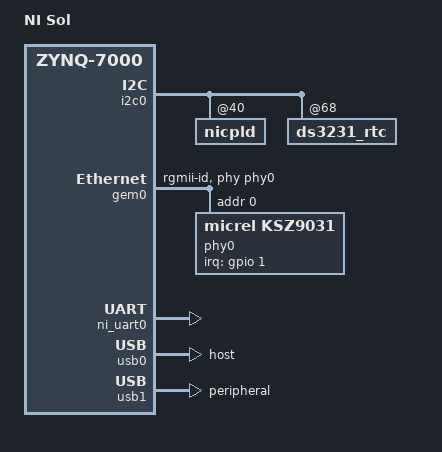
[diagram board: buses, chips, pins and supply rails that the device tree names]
/dts-v1/;
/include/ "ni-zynq.dtsi"

/* NIDEVCODE 7743 */

/ {
	model = "NI Sol";
	compatible = "ni,zynq", "xlnx,zynq-7000";

	amba@0 {
		i2c0: i2c@e0004000 {
			nicpld@40 {
				watchdogs {
					boot-watchdog {
						interrupt-parent = <&gpio>;
						interrupts = <25 2 /* IRQ_TYPE_EDGE_FALLING */>;
					};
				};

				leds {
					user1-0 {
						label = "nilrt:user1:green";
					};
					status-0 {
						label = "nilrt:status:yellow";
						max-brightness = <0xFFFF>;
					};
					eth0-0 {
						label = "nilrt:eth0:green";
						linux,default-trigger =
						  "e000b000.etherne:00:100Mb";
					};
					eth0-1 {
						label = "nilrt:eth0:yellow";
						linux,default-trigger =
						  "e000b000.etherne:00:Gb";
					};
				};
			};

			ds3231_rtc@68 {
				status = "okay";
			};
		};
	};
};

&gem0 {
	status = "okay";
	clocks = <&clkc 30>, <&clkc 13>, <&clkc 15>;
	clock-names = "pclk", "hclk", "tx_clk";
	phy-handle = <&phy0>;
	phy-mode = "rgmii-id";
	emio-speed-gpios = <0>,
			   <&gpio 54 0>;

	#address-cells = <0x1>;
	#size-cells = <0x0>;

	phy0: phy@0 {
		compatible = "micrel,KSZ9031";
		device_type = "ethernet-phy";
		reg = <0x0>;
		/* Interrupt on GPIO1. */
		interrupts = <1 8 /* IRQ_TYPE_LEVEL_LOW */>;
		interrupt-parent = <&gpio>;

		/* RX_DV Pad Skew [7:4] = +0.30ns (0xC0) */
		/* Default is 0b0111, or 7. 7 * 60 ps = 420 ps. 0.30 ns is 300
		 * ps. 420 + 300 is 720 ps. */
		rxdv-skew-ps = <720>;

		/* TX_EN Pad Skew [3:0] = -0.30ns (0x02) */
		/* Default is 0b0111, or 7. 7 * 60 ps = 420 ps. 0.30 ns is 300
		 * ps. 420 - 300 is 120 ps. */
		txen-skew-ps = <120>;

		/* RXD 0-3 Pad Skew = +0.30ns (0xC) */
		/* Default is 0b0111, or 7. 7 * 60 ps = 420 ps. 0.30 ns is 300
		 * ps. 420 + 300 is 720 ps. */
		rxd0-skew-ps = <720>;
		rxd1-skew-ps = <720>;
		rxd2-skew-ps = <720>;
		rxd3-skew-ps = <720>;

		/* TXD 0-3 Pad Skew = -0.30ns (0x2) */
		/* Default is 0b0111, or 7. 7 * 60 ps = 420 ps. 0.30 ns is 300
		 * ps. 420 - 300 is 120 ps. */
		txd0-skew-ps = <120>;
		txd1-skew-ps = <120>;
		txd2-skew-ps = <120>;
		txd3-skew-ps = <120>;

		/* Write value to MMD Address 2h, Register 8h */
		/* RX_CLK Pad Skew [4:0] = -0.9ns (0x0) */
		/* Default is 0b01111, or 15. 15 * 60 ps = 900 ps. 0.90 ns is
		 * 900 ps. 900 - 900 is 0 ps. */
		rxc-skew-ps = <0>;
		/* GTX_CLK Pad Skew [9:5] = +0.96ns (0x3E) */
		/* Default is 0b01111, or 15. 15 * 60 ps = 900 ps. 0.96 ns is
		 * 960 ps. 900 + 960 is 1860 ps. */
		txc-skew-ps = <1860>;
	};
};

&ni_uart0 {
	status = "okay";
	transceiver = "RS-232";
};

&usb0 {
	status = "okay";
	dr_mode = "host";
};

&usb1 {
	status = "okay";
	dr_mode = "peripheral";
};

&clkc {
	/* Enable fclk1 for serial. */
	fclk-enable = <0x2>;
};
